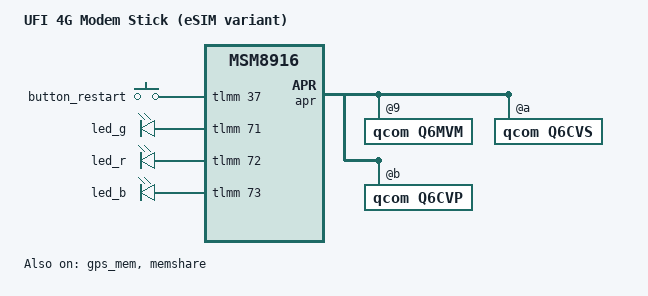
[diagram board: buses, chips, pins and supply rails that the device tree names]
// SPDX-License-Identifier: GPL-2.0-only
/*
 * MSM8916 "UFI" 4G modem stick, eSIM-switching variant.
 * Stock firmware: Android 4.4.4 "msm8916_32_512" (2025 build), modem HIMI_U01_MODEM_V1.0.
 * Pinout taken from the stock (vendor) device tree "MSM 8916 512MB MTP" + hardware test:
 *   GPIO 37  key_freset   (button, active-high, idle low)
 *   GPIO 71  4g_1         -> green LED
 *   GPIO 72  4g_type      -> red LED
 *   GPIO 73  wifistatus   -> blue LED
 *   GPIO 119 esim1_en, GPIO 14 esim2_en, GPIO 12 esim3_en, GPIO 114 sim_hotplug
 *            all low = external SIM slot (verified: registers on network)
 *   GPIO 36 bat1, GPIO 38 exvus, GPIO 106 ftest, GPIO 110 USB ID (pull-up)  -- unused here
 */

/dts-v1/;

#include "msm8916-ufi.dtsi"
#include "msm8916-openwrt-ramoops.dtsi"

/ {
	model = "UFI 4G Modem Stick (eSIM variant)";
	compatible = "generic,ufi-esim", "qcom,msm8916";

	aliases {
		led-boot = &led_r;
		led-failsafe = &led_r;
		led-running = &led_r;
		led-upgrade = &led_r;
	};
};

&button_restart {
	gpios = <&tlmm 37 GPIO_ACTIVE_HIGH>;
};

&button_default {
	pins = "gpio37";
	bias-pull-down;
};

/* green: 4G status (stock "4g_1") */
&led_g {
	gpios = <&tlmm 71 GPIO_ACTIVE_HIGH>;
	function = LED_FUNCTION_WAN;
};

/* red: stock "4g_type"; used as power/heartbeat here */
&led_r {
	gpios = <&tlmm 72 GPIO_ACTIVE_HIGH>;
	function = LED_FUNCTION_POWER;
};

/* blue: WiFi status (stock "wifistatus") */
&led_b {
	gpios = <&tlmm 73 GPIO_ACTIVE_HIGH>;
	function = LED_FUNCTION_WLAN;
};

&gpio_leds_default {
	pins = "gpio71", "gpio72", "gpio73";
};

/* GPS: modem requests memory through the memshare QMI service (needs memshare patches) */
&gps_mem {
	status = "okay";
};

&memshare {
	status = "okay";
};

/*
 * Audio stage 1: only the APR bus to the modem QDSP6 with its q6core and q6afe
 * services (answered by the modem firmware on "apr_audio_svc"). The q6asm/q6adm
 * services have no driver yet and no sound card is defined; lpass is left alone.
 */
/*
 * Audio stage 3: the modem voice services (MVM/CVS/CVP) for the q6voice
 * drivers. Probing them sends nothing to the DSP; voice sessions are only
 * created on request (by the rtproxy PCM driver below). The q6voice-dais
 * child (ASoC CS-VOICE DAI) is left out; the rtproxy sound card is used.
 */
&apr {
	status = "okay";

	q6mvm: service@9 {
		compatible = "qcom,q6mvm";
		reg = <APR_SVC_ADSP_MVM>;
	};

	q6cvs: service@a {
		compatible = "qcom,q6cvs";
		reg = <APR_SVC_ADSP_CVS>;
	};

	q6cvp: service@b {
		compatible = "qcom,q6cvp";
		reg = <APR_SVC_ADSP_CVP>;
	};
};

/*
 * Audio stage 5: CS voice call audio as an ALSA sound card. The rtproxy
 * child of q6afe is the PCM (capture = call downlink, playback = call
 * uplink, through the AFE RT proxy ports 0x2000/0x2001); the card ties it to
 * the dummy codec. No LPASS, MI2S or codec hardware is involved. The call
 * path is started while a PCM stream is open, not at boot.
 */
&q6afe {
	q6rtproxy: rtproxy {
		compatible = "qcom,q6afe-rtproxy-pcm";
		#sound-dai-cells = <0>;
	};
};

/ {
	sound {
		compatible = "qcom,q6afe-rtproxy-card";
		model = "MSM8916 Voice";
		sound-dai = <&q6rtproxy>;
	};
};

/*
 * Proprietary firmware is read from the stock "modem" (vfat) and "persist"
 * (ext4) partitions, mounted read-only at /lib/firmware/modem and
 * /lib/firmware/persist by /lib/preinit/79_mount_firmware.
 */
&mpss {
	firmware-name = "modem/image/mba.mbn", "modem/image/modem.mdt";
	pinctrl-0 = <&sim_ctrl_default>;
	pinctrl-names = "default";
};

&wcnss {
	firmware-name = "modem/image/wcnss.mdt";
};

/* read by both wcnss_ctrl (NV download) and wcn36xx (parent node) */
&wcnss_ctrl {
	firmware-name = "persist/WCNSS_qcom_wlan_nv.bin";
};

/*
 * The PMIC RTC has no backup battery and is read-only for Linux (no
 * allow-set-time, owned by TZ): it counts from power-on, so loading it
 * (sysfixtime "hwclock -s") sets the clock back to 1970. Without it the
 * clock comes from sysfixtime (newest /etc file) and NTP.
 */
&pm8916_0 {
	rtc@6000 {
		status = "disabled";
	};
};

/* This selects the external SIM card slot by default (all eSIM enables low) */
&tlmm {
	sim_ctrl_default: sim-ctrl-default-state {
		esim-en-pins {
			pins = "gpio12", "gpio14", "gpio119";
			function = "gpio";
			bias-disable;
			output-low;
		};

		sim-hotplug-pins {
			pins = "gpio114";
			function = "gpio";
			bias-disable;
			output-low;
		};
	};
};
